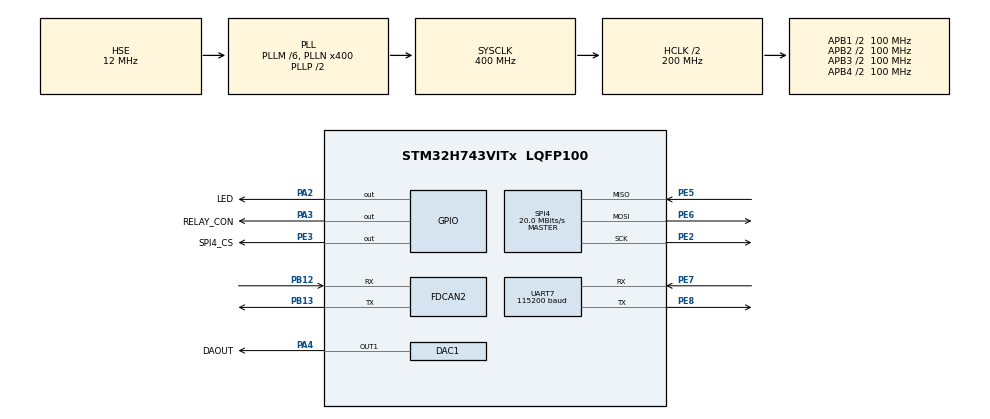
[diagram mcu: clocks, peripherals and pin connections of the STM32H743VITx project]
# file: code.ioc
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DAC1.DAC_Channel-DAC_OUT1=DAC_CHANNEL_1
DAC1.DAC_Trigger-DAC_OUT1=DAC_TRIGGER_SOFTWARE
Dma.Request0=UART7_RX
Dma.Request1=UART7_TX
Dma.UART7_RX.0.Direction=DMA_PERIPH_TO_MEMORY
Dma.UART7_RX.0.EventEnable=DISABLE
Dma.UART7_RX.0.FIFOMode=DMA_FIFOMODE_ENABLE
Dma.UART7_RX.0.FIFOThreshold=DMA_FIFO_THRESHOLD_FULL
Dma.UART7_RX.0.Instance=DMA1_Stream0
Dma.UART7_RX.0.MemBurst=DMA_MBURST_SINGLE
Dma.UART7_RX.0.MemDataAlignment=DMA_MDATAALIGN_BYTE
Dma.UART7_RX.0.MemInc=DMA_MINC_ENABLE
Dma.UART7_RX.0.Mode=DMA_NORMAL
Dma.UART7_RX.0.PeriphBurst=DMA_PBURST_SINGLE
Dma.UART7_RX.0.PeriphDataAlignment=DMA_PDATAALIGN_BYTE
Dma.UART7_RX.0.PeriphInc=DMA_PINC_DISABLE
Dma.UART7_RX.0.Polarity=HAL_DMAMUX_REQ_GEN_RISING
Dma.UART7_RX.0.Priority=DMA_PRIORITY_LOW
Dma.UART7_RX.0.RequestNumber=1
Dma.UART7_RX.0.SignalID=NONE
Dma.UART7_RX.0.SyncEnable=DISABLE
Dma.UART7_RX.0.SyncPolarity=HAL_DMAMUX_SYNC_NO_EVENT
Dma.UART7_RX.0.SyncRequestNumber=1
Dma.UART7_RX.0.SyncSignalID=NONE
Dma.UART7_TX.1.Direction=DMA_MEMORY_TO_PERIPH
Dma.UART7_TX.1.EventEnable=DISABLE
Dma.UART7_TX.1.FIFOMode=DMA_FIFOMODE_ENABLE
Dma.UART7_TX.1.FIFOThreshold=DMA_FIFO_THRESHOLD_FULL
Dma.UART7_TX.1.Instance=DMA1_Stream1
Dma.UART7_TX.1.MemBurst=DMA_MBURST_SINGLE
Dma.UART7_TX.1.MemDataAlignment=DMA_MDATAALIGN_BYTE
Dma.UART7_TX.1.MemInc=DMA_MINC_ENABLE
Dma.UART7_TX.1.Mode=DMA_NORMAL
Dma.UART7_TX.1.PeriphBurst=DMA_PBURST_SINGLE
Dma.UART7_TX.1.PeriphDataAlignment=DMA_PDATAALIGN_BYTE
Dma.UART7_TX.1.PeriphInc=DMA_PINC_DISABLE
Dma.UART7_TX.1.Polarity=HAL_DMAMUX_REQ_GEN_RISING
Dma.UART7_TX.1.Priority=DMA_PRIORITY_LOW
Dma.UART7_TX.1.RequestNumber=1
Dma.UART7_TX.1.SignalID=NONE
Dma.UART7_TX.1.SyncEnable=DISABLE
Dma.UART7_TX.1.SyncPolarity=HAL_DMAMUX_SYNC_NO_EVENT
Dma.UART7_TX.1.SyncRequestNumber=1
Dma.UART7_TX.1.SyncSignalID=NONE
FDCAN2.CalculateBaudRateNominal=500000
FDCAN2.CalculateTimeBitNominal=2000
FDCAN2.CalculateTimeQuantumNominal=50.0
FDCAN2.DataPrescaler=10
FDCAN2.DataTimeSeg1=15
FDCAN2.DataTimeSeg2=8
FDCAN2.ExtFiltersNbr=1
FDCAN2.NominalPrescaler=2
FDCAN2.NominalSyncJumpWidth=8
FDCAN2.NominalTimeSeg1=31
FDCAN2.NominalTimeSeg2=8
FDCAN2.RxFifo0ElmtsNbr=32
FDCAN2.TxFifoQueueElmtsNbr=16
Mcu.Family=STM32H7
Mcu.Name=STM32H743VITx
Mcu.Package=LQFP100
NVIC.DMA1_Stream0_IRQn=true\:0\:0\:false\:true\:true\:2\:false\:true\:true
NVIC.DMA1_Stream1_IRQn=true\:0\:0\:false\:true\:true\:3\:false\:true\:true
NVIC.FDCAN2_IT0_IRQn=true\:0\:0\:false\:true\:true\:5\:true\:true\:true
NVIC.PriorityGroup=NVIC_PRIORITYGROUP_2
NVIC.TIM3_IRQn=true\:0\:0\:false\:true\:true\:4\:true\:true\:true
NVIC.UART7_IRQn=true\:0\:0\:false\:true\:true\:1\:true\:true\:true
PA13\ (JTMS/SWDIO).Mode=JTAG_4_pins
PA13\ (JTMS/SWDIO).Signal=DEBUG_JTMS-SWDIO
PA14\ (JTCK/SWCLK).Mode=JTAG_4_pins
PA14\ (JTCK/SWCLK).Signal=DEBUG_JTCK-SWCLK
PA15\ (JTDI).Mode=JTAG_4_pins
PA15\ (JTDI).Signal=DEBUG_JTDI
PA2.GPIO_Label=LED
PA2.Signal=GPIO_Output
PA3.GPIO_Label=RELAY_CON
PA3.GPIO_Speed=GPIO_SPEED_FREQ_HIGH
PA3.Signal=GPIO_Output
PA4.GPIO_Label=DAOUT
PA4.Signal=COMP_DAC11_group
PB12.GPIO_PuPd=GPIO_NOPULL
PB12.GPIO_Speed=GPIO_SPEED_FREQ_VERY_HIGH
PB12.Mode=FDCAN_Activate
PB12.Signal=FDCAN2_RX
PB13.GPIO_Speed=GPIO_SPEED_FREQ_VERY_HIGH
PB13.Mode=FDCAN_Activate
PB13.Signal=FDCAN2_TX
PB3\ (JTDO/TRACESWO).Mode=JTAG_4_pins
PB3\ (JTDO/TRACESWO).Signal=DEBUG_JTDO-SWO
PE2.Mode=Full_Duplex_Master
PE2.Signal=SPI4_SCK
PE3.GPIO_Label=SPI4_CS
PE3.GPIO_Speed=GPIO_SPEED_FREQ_HIGH
PE3.PinState=GPIO_PIN_SET
PE3.Signal=GPIO_Output
PE5.Mode=Full_Duplex_Master
PE5.Signal=SPI4_MISO
PE6.Mode=Full_Duplex_Master
PE6.Signal=SPI4_MOSI
PE7.GPIO_PuPd=GPIO_NOPULL
PE7.GPIO_Speed=GPIO_SPEED_FREQ_VERY_HIGH
PE7.Mode=Asynchronous
PE7.Signal=UART7_RX
PE8.GPIO_PuPd=GPIO_NOPULL
PE8.GPIO_Speed=GPIO_SPEED_FREQ_VERY_HIGH
PE8.Mode=Asynchronous
PE8.Signal=UART7_TX
PH0-OSC_IN\ (PH0).Mode=HSE-External-Oscillator
PH0-OSC_IN\ (PH0).Signal=RCC_OSC_IN
PH1-OSC_OUT\ (PH1).Mode=HSE-External-Oscillator
PH1-OSC_OUT\ (PH1).Signal=RCC_OSC_OUT
ProjectManager.HeapSize=0x200
ProjectManager.StackSize=0x400
ProjectManager.TargetToolchain=MDK-ARM V5.32
RCC.ADCFreq_Value=200000000
RCC.APB1Freq_Value=100000000
RCC.APB2Freq_Value=100000000
RCC.APB3Freq_Value=100000000
RCC.APB4Freq_Value=100000000
RCC.CortexFreq_Value=400000000
RCC.D1PPRE=RCC_APB3_DIV2
RCC.D2PPRE1=RCC_APB1_DIV2
RCC.D2PPRE2=RCC_APB2_DIV2
RCC.D3PPRE=RCC_APB4_DIV2
RCC.DIVM1=6
RCC.DIVM2=6
RCC.DIVM3=6
RCC.DIVN1=400
RCC.DIVN2=200
RCC.DIVN3=100
RCC.DIVQ1=20
RCC.DIVQ2=10
RCC.DIVQ3=10
RCC.EnbaleCSS=true
RCC.FDCANCLockSelection=RCC_FDCANCLKSOURCE_PLL2
RCC.HCLKFreq_Value=200000000
RCC.HPRE=RCC_HCLK_DIV2
RCC.HSE_VALUE=12000000
RCC.PLL2FRACN=0
RCC.PLLSourceVirtual=RCC_PLLSOURCE_HSE
RCC.SYSCLKFreq_VALUE=400000000
RCC.SYSCLKSource=RCC_SYSCLKSOURCE_PLLCLK
RCC.Spi45ClockSelection=RCC_SPI45CLKSOURCE_PLL2
RCC.USART234578CLockSelection=RCC_USART234578CLKSOURCE_PLL2
RCC.USBFreq_Value=40000000
SH.COMP_DAC11_group.0=DAC1_OUT1,DAC_OUT1
SPI4.BaudRatePrescaler=SPI_BAUDRATEPRESCALER_2
SPI4.CalculateBaudRate=20.0 MBits/s
SPI4.DataSize=SPI_DATASIZE_8BIT
SPI4.Direction=SPI_DIRECTION_2LINES
SPI4.Mode=SPI_MODE_MASTER
SPI4.NSSPMode=SPI_NSS_PULSE_DISABLE
SPI4.VirtualType=VM_MASTER
TIM3.AutoReloadPreload=TIM_AUTORELOAD_PRELOAD_ENABLE
TIM3.Period=10000-1
TIM3.Prescaler=20000-1
UART7.BaudRate=115200
VP_TIM3_VS_ClockSourceINT.Mode=Internal
board=custom

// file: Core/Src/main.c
/* USER CODE BEGIN Header */
/**
  ******************************************************************************
  * @file           : main.c
  * @brief          : Main program body
  ******************************************************************************
  * @attention
  *
  * Copyright (c) 2023 STMicroelectronics.
  * All rights reserved.
  *
  * This software is licensed under terms that can be found in the LICENSE file
  * in the root directory of this software component.
  * If no LICENSE file comes with this software, it is provided AS-IS.
  *
  ******************************************************************************
  */
/* USER CODE END Header */
#include "main.h"
#include "dac.h"
#include "dma.h"
#include "fdcan.h"
#include "spi.h"
#include "tim.h"
#include "usart.h"
#include "gpio.h"

/* USER CODE BEGIN Includes */
#include <stdio.h>
#include <string.h>
/* USER CODE END Includes */

/* USER CODE BEGIN PV */
//uint8_t buffer[5]={2};

uint32_t eps_mode[8]={0x00,0x00,0x00,0x00,0x00,0x00,0x00,0x00};//助力模式
uint32_t zero_set[8]={0x00,0x01,0x00,0x00,0x00,0x00,0x00,0x00};//零角度模式

uint32_t right100[8] ={0x10,0x00,0xFC,0x18,0x40,0x00,0x00,0x00};// FFFF-FC18+1(HEX) = 100*10(DEC)
uint32_t zero[8]    ={0x10,0x00,0x00,0x00,0x40,0x00,0x00,0x00};
uint32_t left360[8] ={0x10,0x00,0x0E,0x10,0x40,0x00,0x00,0x00}; //0xe10 = 360*10 左转360度   0x0E*100+0x10(HEX) = 360*10(DEC)
uint32_t left540[8] ={0x10,0x00,0x15,0x18,0x40,0x00,0x00,0x00};//0x1518 = 540*10 左转540度

uint8_t error_clr[8]={0x00,0xC0,0x00,0x00,0x00,0x00,0x00,0x00};

uint8_t RxData[8];

uint8_t uattbuff[20]={"hello\r\n"};
uint8_t uattbuffdma[20]={"hello from DMA\r\n"};
uint8_t uatrbuffdma[128]={0};

/* USER CODE END PV */

void SystemClock_Config(void);
void PeriphCommonClock_Config(void);
static void MX_NVIC_Init(void);
/* USER CODE BEGIN PFP */
static void MPU_Config(void);
/* USER CODE END PFP */

/* USER CODE BEGIN 0 */

//void HAL_UART_RxCpltCallback(UART_HandleTypeDef *huart)
//{
//
//  if (huart->Instance == UART7)
//  {
//		if(rxBuffer[0]==0x01)
//			HAL_GPIO_TogglePin(LED_GPIO_Port,LED_Pin);
//		txBuffer[0] = rxBuffer[0];
//		HAL_UART_Transmit(&huart7, txBuffer, RX_BUFFERSIZE, 1000);
//		HAL_UART_Receive_IT(&huart7, rxBuffer, RX_BUFFERSIZE);
//  }
//}

void HAL_FDCAN_RxFifo0Callback(FDCAN_HandleTypeDef *hfdcan, uint32_t RxFifo0ITs)
{
	if (hfdcan == &hfdcan2)
	{
    if((RxFifo0ITs & FDCAN_IT_RX_FIFO0_WATERMARK) != RESET)
    {
      /* Retrieve Rx messages from RX FIFO0 */
      if (HAL_FDCAN_GetRxMessage(hfdcan, FDCAN_RX_FIFO0, &RxHeader2, RxData) != HAL_OK)
      /* Reception Error */
      Error_Handler();
      if (HAL_FDCAN_ActivateNotification(hfdcan, FDCAN_IT_RX_FIFO0_WATERMARK, 0) != HAL_OK)  //激活Rx FIFO0 watermark notification
        /* Notification Error */
        Error_Handler();
			if ((RxHeader2.Identifier == 0x0C3ED3D1) && (RxHeader2.IdType == FDCAN_EXTENDED_ID))  //处理数据，结RxHeader2， RxData
      {
				send_can_message(&hfdcan2, &TxHeader2, RxData);
      }
    }
  }
}
/* USER CODE END 0 */

int main(void)
{
  /* USER CODE BEGIN 1 */
  MPU_Config();
  /* USER CODE END 1 */

  /* MCU Configuration--------------------------------------------------------*/

  /* Reset of all peripherals, Initializes the Flash interface and the Systick. */
  HAL_Init();

  /* Configure the system clock */
  SystemClock_Config();

/* Configure the peripherals common clocks */
  PeriphCommonClock_Config();

  /* Initialize all configured peripherals */
  MX_GPIO_Init();
  MX_DMA_Init();
  MX_FDCAN2_Init();
  MX_SPI4_Init();
  MX_DAC1_Init();
  MX_UART7_Init();
  MX_TIM3_Init();

  /* Initialize interrupts */
  MX_NVIC_Init();
  /* USER CODE BEGIN 2 */
  HAL_GPIO_WritePin(RELAY_CON_GPIO_Port, RELAY_CON_Pin, GPIO_PIN_SET);
	HAL_Delay(1000);

  HAL_DAC_SetValue(&hdac1,DAC_CHANNEL_1, DAC_ALIGN_12B_R, 1000);//0~3000 -> 0~4.5V
  HAL_DAC_Start(&hdac1, DAC_CHANNEL_1);

	//HAL_UART_Receive_IT(&huart7, rxBuffer, RX_BUFFERSIZE);

	 // 启用空闲中断
  __HAL_UART_ENABLE_IT(&huart7, UART_IT_IDLE);
  HAL_UART_Receive_DMA(&huart7, rxBuffer, RX_BUFFERSIZE);

	uint8_t write_data[4] = {0x12, 0x34, 0x56, 0x78};
	printf("开始往地址0x000000写入以下数据：%x %x %x %x\r\n",write_data[0],write_data[1],write_data[2],write_data[3]);
  FM25V10_Write(0x000000, write_data, sizeof(write_data));
  printf("写入成功！！！\r\n");
	printf("开始从地址0x000000读数据\r\n");
  uint8_t read_data[4];
  FM25V10_Read(0x000000, read_data, sizeof(read_data));
	printf("读数成功！！！\r\n该地址数据为：%x %x %x %x\r\n",read_data[0],read_data[1],read_data[2],read_data[3]);
  /* USER CODE END 2 */

  /* Infinite loop */
  while (1)
  {

    /* USER CODE BEGIN 3 */
		//printf("串口打印测试\r\n");
    HAL_Delay(1000);
		HAL_GPIO_TogglePin(LED_GPIO_Port,LED_Pin);
		if(recv_end_flag==1)
		process_packet();

		//printf("MCU发送以下数据：\r\n");
	  //send_uart7_data(write_data,sizeof(write_data));
		//send_can_message(&hfdcan2, &TxHeader2, error_clr);
  }
  /* USER CODE END 3 */
}

void SystemClock_Config(void)
{
  RCC_OscInitTypeDef RCC_OscInitStruct = {0};
  RCC_ClkInitTypeDef RCC_ClkInitStruct = {0};

  /** Supply configuration update enable
  */
  HAL_PWREx_ConfigSupply(PWR_LDO_SUPPLY);

  /** Configure the main internal regulator output voltage
  */
  __HAL_PWR_VOLTAGESCALING_CONFIG(PWR_REGULATOR_VOLTAGE_SCALE1);

  while(!__HAL_PWR_GET_FLAG(PWR_FLAG_VOSRDY)) {}

  /** Initializes the RCC Oscillators according to the specified parameters
  * in the RCC_OscInitTypeDef structure.
  */
  RCC_OscInitStruct.OscillatorType = RCC_OSCILLATORTYPE_HSE;
  RCC_OscInitStruct.HSEState = RCC_HSE_ON;
  RCC_OscInitStruct.PLL.PLLState = RCC_PLL_ON;
  RCC_OscInitStruct.PLL.PLLSource = RCC_PLLSOURCE_HSE;
  RCC_OscInitStruct.PLL.PLLM = 6;
  RCC_OscInitStruct.PLL.PLLN = 400;
  RCC_OscInitStruct.PLL.PLLP = 2;
  RCC_OscInitStruct.PLL.PLLQ = 20;
  RCC_OscInitStruct.PLL.PLLR = 2;
  RCC_OscInitStruct.PLL.PLLRGE = RCC_PLL1VCIRANGE_1;
  RCC_OscInitStruct.PLL.PLLVCOSEL = RCC_PLL1VCOWIDE;
  RCC_OscInitStruct.PLL.PLLFRACN = 0;
  if (HAL_RCC_OscConfig(&RCC_OscInitStruct) != HAL_OK)
  {
    Error_Handler();
  }

  /** Initializes the CPU, AHB and APB buses clocks
  */
  RCC_ClkInitStruct.ClockType = RCC_CLOCKTYPE_HCLK|RCC_CLOCKTYPE_SYSCLK
                              |RCC_CLOCKTYPE_PCLK1|RCC_CLOCKTYPE_PCLK2
                              |RCC_CLOCKTYPE_D3PCLK1|RCC_CLOCKTYPE_D1PCLK1;
  RCC_ClkInitStruct.SYSCLKSource = RCC_SYSCLKSOURCE_PLLCLK;
  RCC_ClkInitStruct.SYSCLKDivider = RCC_SYSCLK_DIV1;
  RCC_ClkInitStruct.AHBCLKDivider = RCC_HCLK_DIV2;
  RCC_ClkInitStruct.APB3CLKDivider = RCC_APB3_DIV2;
  RCC_ClkInitStruct.APB1CLKDivider = RCC_APB1_DIV2;
  RCC_ClkInitStruct.APB2CLKDivider = RCC_APB2_DIV2;
  RCC_ClkInitStruct.APB4CLKDivider = RCC_APB4_DIV2;

  if (HAL_RCC_ClockConfig(&RCC_ClkInitStruct, FLASH_LATENCY_2) != HAL_OK)
  {
    Error_Handler();
  }

  /** Enables the Clock Security System
  */
  HAL_RCC_EnableCSS();
}

void PeriphCommonClock_Config(void)
{
  RCC_PeriphCLKInitTypeDef PeriphClkInitStruct = {0};

  /** Initializes the peripherals clock
  */
  PeriphClkInitStruct.PeriphClockSelection = RCC_PERIPHCLK_SPI4|RCC_PERIPHCLK_FDCAN
                              |RCC_PERIPHCLK_UART7;
  PeriphClkInitStruct.PLL2.PLL2M = 6;
  PeriphClkInitStruct.PLL2.PLL2N = 200;
  PeriphClkInitStruct.PLL2.PLL2P = 2;
  PeriphClkInitStruct.PLL2.PLL2Q = 10;
  PeriphClkInitStruct.PLL2.PLL2R = 2;
  PeriphClkInitStruct.PLL2.PLL2RGE = RCC_PLL2VCIRANGE_1;
  PeriphClkInitStruct.PLL2.PLL2VCOSEL = RCC_PLL2VCOWIDE;
  PeriphClkInitStruct.PLL2.PLL2FRACN = 0;
  PeriphClkInitStruct.Spi45ClockSelection = RCC_SPI45CLKSOURCE_PLL2;
  PeriphClkInitStruct.FdcanClockSelection = RCC_FDCANCLKSOURCE_PLL2;
  PeriphClkInitStruct.Usart234578ClockSelection = RCC_USART234578CLKSOURCE_PLL2;
  if (HAL_RCCEx_PeriphCLKConfig(&PeriphClkInitStruct) != HAL_OK)
  {
    Error_Handler();
  }
}

/**
  * @brief NVIC Configuration.
  * @retval None
  */
static void MX_NVIC_Init(void)
{
  /* UART7_IRQn interrupt configuration */
  HAL_NVIC_SetPriority(UART7_IRQn, 0, 0);
  HAL_NVIC_EnableIRQ(UART7_IRQn);
  /* DMA1_Stream0_IRQn interrupt configuration */
  HAL_NVIC_SetPriority(DMA1_Stream0_IRQn, 0, 0);
  HAL_NVIC_EnableIRQ(DMA1_Stream0_IRQn);
  /* DMA1_Stream1_IRQn interrupt configuration */
  HAL_NVIC_SetPriority(DMA1_Stream1_IRQn, 0, 0);
  HAL_NVIC_EnableIRQ(DMA1_Stream1_IRQn);
  /* TIM3_IRQn interrupt configuration */
  HAL_NVIC_SetPriority(TIM3_IRQn, 0, 0);
  HAL_NVIC_EnableIRQ(TIM3_IRQn);
  /* FDCAN2_IT0_IRQn interrupt configuration */
  HAL_NVIC_SetPriority(FDCAN2_IT0_IRQn, 0, 0);
  HAL_NVIC_EnableIRQ(FDCAN2_IT0_IRQn);
}

/* USER CODE BEGIN 4 */

static void MPU_Config(void)
{
  MPU_Region_InitTypeDef MPU_InitStruct;

  /* Disable the MPU */
  HAL_MPU_Disable();

  /* Configure the MPU as Strongly ordered for not defined regions */
  MPU_InitStruct.Enable = MPU_REGION_ENABLE;
  MPU_InitStruct.BaseAddress = 0x00;
  MPU_InitStruct.Size = MPU_REGION_SIZE_4GB;
  MPU_InitStruct.AccessPermission = MPU_REGION_NO_ACCESS;
  MPU_InitStruct.IsBufferable = MPU_ACCESS_NOT_BUFFERABLE;
  MPU_InitStruct.IsCacheable = MPU_ACCESS_NOT_CACHEABLE;
  MPU_InitStruct.IsShareable = MPU_ACCESS_SHAREABLE;
  MPU_InitStruct.Number = MPU_REGION_NUMBER0;
  MPU_InitStruct.TypeExtField = MPU_TEX_LEVEL0;
  MPU_InitStruct.SubRegionDisable = 0x87;
  MPU_InitStruct.DisableExec = MPU_INSTRUCTION_ACCESS_DISABLE;

  HAL_MPU_ConfigRegion(&MPU_InitStruct);

  /* Enable the MPU */
  HAL_MPU_Enable(MPU_PRIVILEGED_DEFAULT);
}
/* USER CODE END 4 */

void Error_Handler(void)
{
  /* USER CODE BEGIN Error_Handler_Debug */
  /* User can add his own implementation to report the HAL error return state */
  //__disable_irq();
	printf("error!!");
  while (1)
  {
    HAL_GPIO_TogglePin(LED_GPIO_Port,LED_Pin);
    HAL_Delay(100);
  }
  /* USER CODE END Error_Handler_Debug */
}
